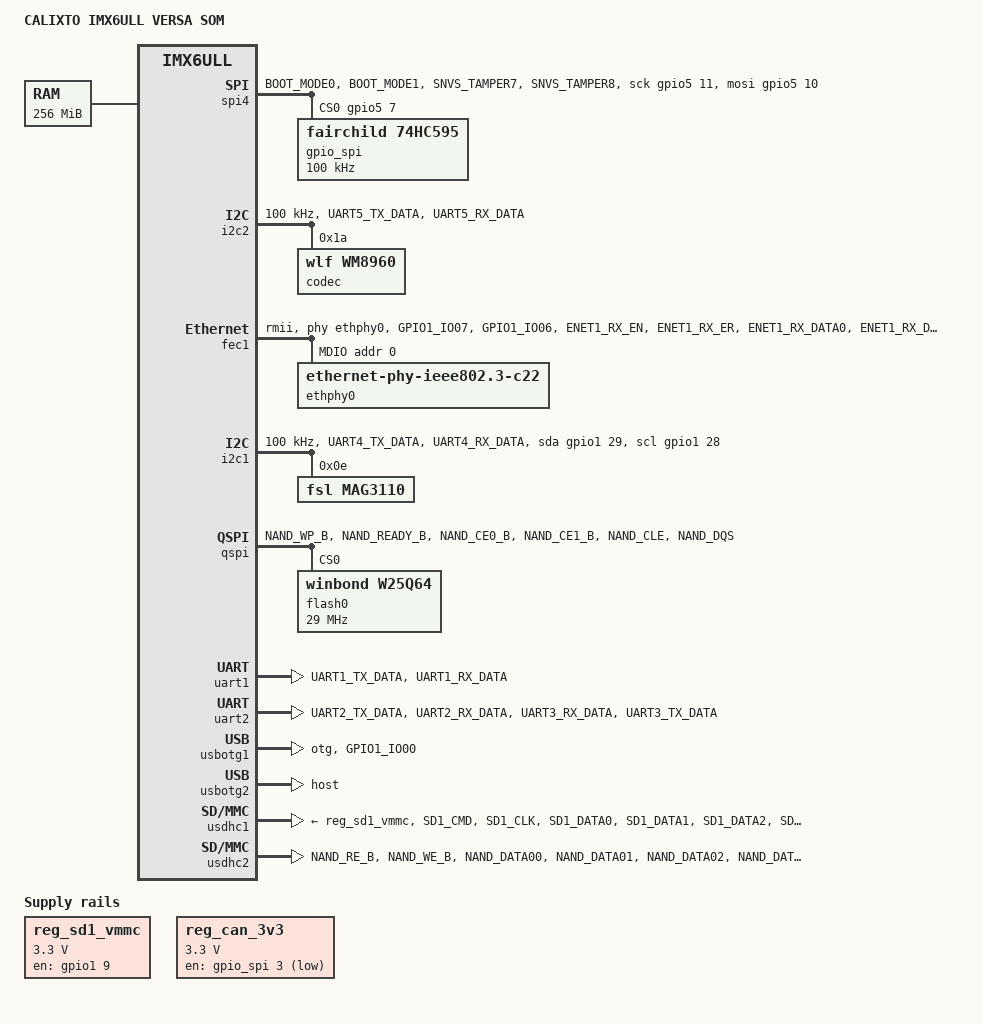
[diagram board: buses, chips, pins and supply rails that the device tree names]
// SPDX-License-Identifier: (GPL-2.0 OR MIT)
//
// Copyright (C) 2024-2025 Calixto Systems pvt ltd - https://www.calixtosystems.com/ 

/dts-v1/;

#include "imx6ull.dtsi"

/ {
	model = "CALIXTO IMX6ULL VERSA SOM";
	compatible = "fsl,imx6ull-14x14-evk", "fsl,imx6ull";
	
	aliases {
		spi5 = &{/spi4};
		u-boot,dm-pre-reloc;
		display0 = &lcdif;
	};

	chosen {
		stdout-path = &uart1;
	};

	memory@80000000 {
		device_type = "memory";
		reg = <0x00000000 0x80000000 0x00000000 0x10000000>;
	};

	reg_sd1_vmmc: regulator-sd1-vmmc {
		compatible = "regulator-fixed";
		regulator-name = "VSD_3V3";
		regulator-min-microvolt = <3300000>;
		regulator-max-microvolt = <3300000>;
		gpio = <&gpio1 9 GPIO_ACTIVE_HIGH>;
		off-on-delay-us = <20000>;
		enable-active-high;
	};

	reg_can_3v3: regulator-can-3v3 {
		compatible = "regulator-fixed";
		regulator-name = "can-3v3";
		regulator-min-microvolt = <3300000>;
		regulator-max-microvolt = <3300000>;
		gpios = <&gpio_spi 3 GPIO_ACTIVE_LOW>;
	};

	spi4 {
		compatible = "spi-gpio";
		pinctrl-names = "default";
		pinctrl-0 = <&pinctrl_spi4>;
		status = "okay";
		pinctrl-assert-gpios = <&gpio5 8 GPIO_ACTIVE_LOW>;
		gpio-sck = <&gpio5 11 0>;
		gpio-mosi = <&gpio5 10 0>;
		cs-gpios = <&gpio5 7 0>;
		num-chipselects = <1>;
		#address-cells = <1>;
		#size-cells = <0>;

		gpio_spi: gpio@0 {
			compatible = "fairchild,74hc595";
			gpio-controller;
			#gpio-cells = <2>;
			reg = <0>;
			registers-number = <1>;
			registers-default = /bits/ 8 <0x57>;
			spi-max-frequency = <100000>;
		};
	};
};

&clks {
	assigned-clocks = <&clks IMX6UL_CLK_PLL3_PFD2>;
	assigned-clock-rates = <320000000>;
}; 

&clks {
	assigned-clocks = <&clks IMX6UL_CLK_PLL4_AUDIO_DIV>;
	assigned-clock-rates = <786432000>;
};

&i2c2 {
	clock-frequency = <100000>;
	pinctrl-names = "default";
	pinctrl-0 = <&pinctrl_i2c2>;
	status = "okay";

	codec: wm8960@1a {
		#sound-dai-cells = <0>;
		compatible = "wlf,wm8960";
		reg = <0x1a>;
		wlf,shared-lrclk;
	};
};

&fec1 {
	pinctrl-names = "default";
	pinctrl-0 = <&pinctrl_enet1>;
	phy-mode = "rmii";
	phy-handle = <&ethphy0>;
	status = "okay";
	mdio {
		#address-cells = <1>;
		#size-cells = <0>;

		ethphy0: ethernet-phy@0 {
			reg = <0>;
			compatible = "ethernet-phy-ieee802.3-c22";
			clocks = <&clks IMX6UL_CLK_ENET_REF>;
			clock-names = "rmii-ref";
		};
	};
};

&i2c1 {
	clock-frequency = <100000>;
	pinctrl-names = "default", "gpio";
	pinctrl-0 = <&pinctrl_i2c1>;
	pinctrl-1 = <&pinctrl_i2c1_gpio>;
	scl-gpios = <&gpio1 28 GPIO_ACTIVE_HIGH>;
	sda-gpios = <&gpio1 29 GPIO_ACTIVE_HIGH>;
	status = "okay";

	mag3110@e {
		compatible = "fsl,mag3110";
		reg = <0x0e>;
	};
};

&qspi {
	pinctrl-names = "default";
	pinctrl-0 = <&pinctrl_qspi>;
	status = "okay";

	flash0: n25q256a@0 {
		#address-cells = <1>;
		#size-cells = <1>;
		compatible = "winbond,w25q64", "jedec,spi-nor";
		spi-max-frequency = <29000000>;
		reg = <0>;
	};
};

&snvs_poweroff {
	status = "okay";
};

&uart1 {
	pinctrl-names = "default";
	pinctrl-0 = <&pinctrl_uart1>;
	status = "okay";
};

&uart2 {
	pinctrl-names = "default";
	pinctrl-0 = <&pinctrl_uart2>;
	uart-has-rtscts;
	status = "okay";
};

&usbotg1 {
	dr_mode = "otg";
	pinctrl-names = "default";
	pinctrl-0 = <&pinctrl_usb_otg1>;
	status = "okay";
};

&usbotg2 {
	dr_mode = "host";
	disable-over-current;
	status = "okay";
};

&usbphy1 {
	fsl,tx-d-cal = <106>;
};

&usbphy2 {
	fsl,tx-d-cal = <106>;
};

&usdhc1 {
	pinctrl-names = "default", "state_100mhz", "state_200mhz";
	pinctrl-0 = <&pinctrl_usdhc1>;
	pinctrl-1 = <&pinctrl_usdhc1_100mhz>;
	pinctrl-2 = <&pinctrl_usdhc1_200mhz>;
	cd-gpios = <&gpio1 19 GPIO_ACTIVE_LOW>;
	keep-power-in-suspend;
	wakeup-source;
	vmmc-supply = <&reg_sd1_vmmc>;
	status = "okay";
};

&usdhc2 {
	pinctrl-names = "default";
	pinctrl-0 = <&pinctrl_usdhc2>;
	no-1-8-v;
	broken-cd;
	keep-power-in-suspend;
	wakeup-source;
	status = "okay";
};

&wdog1 {
	pinctrl-names = "default";
	pinctrl-0 = <&pinctrl_wdog>;
	fsl,ext-reset-output;
};

&{/soc} {
	u-boot,dm-pre-reloc;
};

&aips2 {
	u-boot,dm-pre-reloc;
};

&iomuxc {
	u-boot,dm-pre-reloc;
};

&iomuxc {
	pinctrl-names = "default";

	pinctrl_csi1: csi1grp {
		fsl,pins = <
			MX6UL_PAD_CSI_MCLK__CSI_MCLK		0x1b088
			MX6UL_PAD_CSI_PIXCLK__CSI_PIXCLK	0x1b088
			MX6UL_PAD_CSI_VSYNC__CSI_VSYNC		0x1b088
			MX6UL_PAD_CSI_HSYNC__CSI_HSYNC		0x1b088
			MX6UL_PAD_CSI_DATA00__CSI_DATA02	0x1b088
			MX6UL_PAD_CSI_DATA01__CSI_DATA03	0x1b088
			MX6UL_PAD_CSI_DATA02__CSI_DATA04	0x1b088
			MX6UL_PAD_CSI_DATA03__CSI_DATA05	0x1b088
			MX6UL_PAD_CSI_DATA04__CSI_DATA06	0x1b088
			MX6UL_PAD_CSI_DATA05__CSI_DATA07	0x1b088
			MX6UL_PAD_CSI_DATA06__CSI_DATA08	0x1b088
			MX6UL_PAD_CSI_DATA07__CSI_DATA09	0x1b088
		>;
	};

	pinctrl_enet1: enet1grp {
		fsl,pins = <
			MX6UL_PAD_GPIO1_IO07__ENET2_MDC		0x1b0b0
			MX6UL_PAD_GPIO1_IO06__ENET2_MDIO	0x1b0b0
			MX6UL_PAD_ENET1_RX_EN__ENET1_RX_EN	0x1b0b0
			MX6UL_PAD_ENET1_RX_ER__ENET1_RX_ER	0x1b0b0
			MX6UL_PAD_ENET1_RX_DATA0__ENET1_RDATA00	0x1b0b0
			MX6UL_PAD_ENET1_RX_DATA1__ENET1_RDATA01	0x1b0b0
			MX6UL_PAD_ENET1_TX_EN__ENET1_TX_EN	0x1b0b0
			MX6UL_PAD_ENET1_TX_DATA0__ENET1_TDATA00	0x1b0b0
			MX6UL_PAD_ENET1_TX_DATA1__ENET1_TDATA01	0x1b0b0
			MX6UL_PAD_ENET1_TX_CLK__ENET1_REF_CLK1	0x4001b031
		>;
	};

	pinctrl_i2c1: i2c1grp {
		fsl,pins = <
			MX6UL_PAD_UART4_TX_DATA__I2C1_SCL 0x4001b8b0
			MX6UL_PAD_UART4_RX_DATA__I2C1_SDA 0x4001b8b0
		>;
	};

	pinctrl_i2c1_gpio: i2c1grp_gpio {
		fsl,pins = <
			MX6UL_PAD_UART4_TX_DATA__GPIO1_IO28 0x1b8b0
			MX6UL_PAD_UART4_RX_DATA__GPIO1_IO29 0x1b8b0
		>;
	};

	pinctrl_i2c2: i2c2grp {
		fsl,pins = <
			MX6UL_PAD_UART5_TX_DATA__I2C2_SCL 0x4001b8b0
			MX6UL_PAD_UART5_RX_DATA__I2C2_SDA 0x4001b8b0
		>;
	};

	pinctrl_qspi: qspigrp {
		fsl,pins = <
			MX6UL_PAD_NAND_WP_B__QSPI_A_SCLK	0x70a1
			MX6UL_PAD_NAND_READY_B__QSPI_A_DATA00	0x70a1
			MX6UL_PAD_NAND_CE0_B__QSPI_A_DATA01	0x70a1
			MX6UL_PAD_NAND_CE1_B__QSPI_A_DATA02	0x70a1
			MX6UL_PAD_NAND_CLE__QSPI_A_DATA03	0x70a1
			MX6UL_PAD_NAND_DQS__QSPI_A_SS0_B	0x70a1
		>;
	};

	pinctrl_pwm1: pwm1grp {
		fsl,pins = <
			MX6UL_PAD_GPIO1_IO08__PWM1_OUT   0x110b0
		>;
	};

	pinctrl_sim2: sim2grp {
		fsl,pins = <
			MX6UL_PAD_CSI_DATA03__SIM2_PORT1_PD		0xb808
			MX6UL_PAD_CSI_DATA04__SIM2_PORT1_CLK		0x31
			MX6UL_PAD_CSI_DATA05__SIM2_PORT1_RST_B		0xb808
			MX6UL_PAD_CSI_DATA06__SIM2_PORT1_SVEN		0xb808
			MX6UL_PAD_CSI_DATA07__SIM2_PORT1_TRXD		0xb809
			MX6UL_PAD_CSI_DATA02__GPIO4_IO23		0x3008
		>;
	};

	pinctrl_spi4: spi4grp {
		fsl,pins = <
			MX6UL_PAD_BOOT_MODE0__GPIO5_IO10	0x70a1
			MX6UL_PAD_BOOT_MODE1__GPIO5_IO11	0x70a1
			MX6UL_PAD_SNVS_TAMPER7__GPIO5_IO07	0x70a1
			MX6UL_PAD_SNVS_TAMPER8__GPIO5_IO08	0x80000000
		>;
	};

	pinctrl_tsc: tscgrp {
		fsl,pins = <
			MX6UL_PAD_GPIO1_IO01__GPIO1_IO01		0xb0
			MX6UL_PAD_GPIO1_IO02__GPIO1_IO02		0xb0
			MX6UL_PAD_GPIO1_IO03__GPIO1_IO03		0xb0
			MX6UL_PAD_GPIO1_IO04__GPIO1_IO04		0xb0
		>;
	};

	pinctrl_uart1: uart1grp {
		fsl,pins = <
			MX6UL_PAD_UART1_TX_DATA__UART1_DCE_TX 0x1b0b1
			MX6UL_PAD_UART1_RX_DATA__UART1_DCE_RX 0x1b0b1
		>;
	};

	pinctrl_uart2: uart2grp {
		fsl,pins = <
			MX6UL_PAD_UART2_TX_DATA__UART2_DCE_TX	0x1b0b1
			MX6UL_PAD_UART2_RX_DATA__UART2_DCE_RX	0x1b0b1
			MX6UL_PAD_UART3_RX_DATA__UART2_DCE_RTS	0x1b0b1
			MX6UL_PAD_UART3_TX_DATA__UART2_DCE_CTS	0x1b0b1
		>;
	};

	pinctrl_usb_otg1: usbotg1grp {
		fsl,pins = <
			MX6UL_PAD_GPIO1_IO00__ANATOP_OTG1_ID	0x17059
		>;
	};

	pinctrl_usdhc1: usdhc1grp {
		fsl,pins = <
			MX6UL_PAD_SD1_CMD__USDHC1_CMD     	0x17059
			MX6UL_PAD_SD1_CLK__USDHC1_CLK		0x10071
			MX6UL_PAD_SD1_DATA0__USDHC1_DATA0 	0x17059
			MX6UL_PAD_SD1_DATA1__USDHC1_DATA1 	0x17059
			MX6UL_PAD_SD1_DATA2__USDHC1_DATA2 	0x17059
			MX6UL_PAD_SD1_DATA3__USDHC1_DATA3 	0x17059
			MX6UL_PAD_NAND_DATA07__GPIO4_IO09       0x17059 /* SD1 CD */
			MX6UL_PAD_GPIO1_IO05__USDHC1_VSELECT    0x17059 /* SD1 VSELECT */
			MX6UL_PAD_GPIO1_IO09__GPIO1_IO09        0x17059 /* SD1 RESET */
		>;
	};

	pinctrl_usdhc1_100mhz: usdhc1grp100mhz {
		fsl,pins = <
			MX6UL_PAD_SD1_CMD__USDHC1_CMD     0x170b9
			MX6UL_PAD_SD1_CLK__USDHC1_CLK     0x100b9
			MX6UL_PAD_SD1_DATA0__USDHC1_DATA0 0x170b9
			MX6UL_PAD_SD1_DATA1__USDHC1_DATA1 0x170b9
			MX6UL_PAD_SD1_DATA2__USDHC1_DATA2 0x170b9
			MX6UL_PAD_SD1_DATA3__USDHC1_DATA3 0x170b9

		>;
	};

	pinctrl_usdhc1_200mhz: usdhc1grp200mhz {
		fsl,pins = <
			MX6UL_PAD_SD1_CMD__USDHC1_CMD     0x170f9
			MX6UL_PAD_SD1_CLK__USDHC1_CLK     0x100f9
			MX6UL_PAD_SD1_DATA0__USDHC1_DATA0 0x170f9
			MX6UL_PAD_SD1_DATA1__USDHC1_DATA1 0x170f9
			MX6UL_PAD_SD1_DATA2__USDHC1_DATA2 0x170f9
			MX6UL_PAD_SD1_DATA3__USDHC1_DATA3 0x170f9
		>;
	};

	pinctrl_usdhc2: usdhc2grp {
		fsl,pins = <
			MX6UL_PAD_NAND_RE_B__USDHC2_CLK     0x17059
			MX6UL_PAD_NAND_WE_B__USDHC2_CMD     0x17059
			MX6UL_PAD_NAND_DATA00__USDHC2_DATA0 0x17059
			MX6UL_PAD_NAND_DATA01__USDHC2_DATA1 0x17059
			MX6UL_PAD_NAND_DATA02__USDHC2_DATA2 0x17059
			MX6UL_PAD_NAND_DATA03__USDHC2_DATA3 0x17059
		>;
	};

	pinctrl_usdhc2_8bit: usdhc2grp_8bit {
		fsl,pins = <
			MX6UL_PAD_NAND_RE_B__USDHC2_CLK     0x10069
			MX6UL_PAD_NAND_WE_B__USDHC2_CMD     0x17059
			MX6UL_PAD_NAND_DATA00__USDHC2_DATA0 0x17059
			MX6UL_PAD_NAND_DATA01__USDHC2_DATA1 0x17059
			MX6UL_PAD_NAND_DATA02__USDHC2_DATA2 0x17059
			MX6UL_PAD_NAND_DATA03__USDHC2_DATA3 0x17059
			MX6UL_PAD_NAND_DATA04__USDHC2_DATA4 0x17059
			MX6UL_PAD_NAND_DATA05__USDHC2_DATA5 0x17059
			MX6UL_PAD_NAND_DATA06__USDHC2_DATA6 0x17059
			MX6UL_PAD_NAND_DATA07__USDHC2_DATA7 0x17059
		>;
	};

	pinctrl_usdhc2_8bit_100mhz: usdhc2grp_8bit_100mhz {
		fsl,pins = <
			MX6UL_PAD_NAND_RE_B__USDHC2_CLK     0x100b9
			MX6UL_PAD_NAND_WE_B__USDHC2_CMD     0x170b9
			MX6UL_PAD_NAND_DATA00__USDHC2_DATA0 0x170b9
			MX6UL_PAD_NAND_DATA01__USDHC2_DATA1 0x170b9
			MX6UL_PAD_NAND_DATA02__USDHC2_DATA2 0x170b9
			MX6UL_PAD_NAND_DATA03__USDHC2_DATA3 0x170b9
			MX6UL_PAD_NAND_DATA04__USDHC2_DATA4 0x170b9
			MX6UL_PAD_NAND_DATA05__USDHC2_DATA5 0x170b9
			MX6UL_PAD_NAND_DATA06__USDHC2_DATA6 0x170b9
			MX6UL_PAD_NAND_DATA07__USDHC2_DATA7 0x170b9
		>;
	};

	pinctrl_usdhc2_8bit_200mhz: usdhc2grp_8bit_200mhz {
		fsl,pins = <
			MX6UL_PAD_NAND_RE_B__USDHC2_CLK     0x100f9
			MX6UL_PAD_NAND_WE_B__USDHC2_CMD     0x170f9
			MX6UL_PAD_NAND_DATA00__USDHC2_DATA0 0x170f9
			MX6UL_PAD_NAND_DATA01__USDHC2_DATA1 0x170f9
			MX6UL_PAD_NAND_DATA02__USDHC2_DATA2 0x170f9
			MX6UL_PAD_NAND_DATA03__USDHC2_DATA3 0x170f9
			MX6UL_PAD_NAND_DATA04__USDHC2_DATA4 0x170f9
			MX6UL_PAD_NAND_DATA05__USDHC2_DATA5 0x170f9
			MX6UL_PAD_NAND_DATA06__USDHC2_DATA6 0x170f9
			MX6UL_PAD_NAND_DATA07__USDHC2_DATA7 0x170f9
		>;
	};

	pinctrl_wdog: wdoggrp {
		fsl,pins = <
			MX6UL_PAD_LCD_RESET__WDOG1_WDOG_ANY    0x30b0
		>;
	};
};
